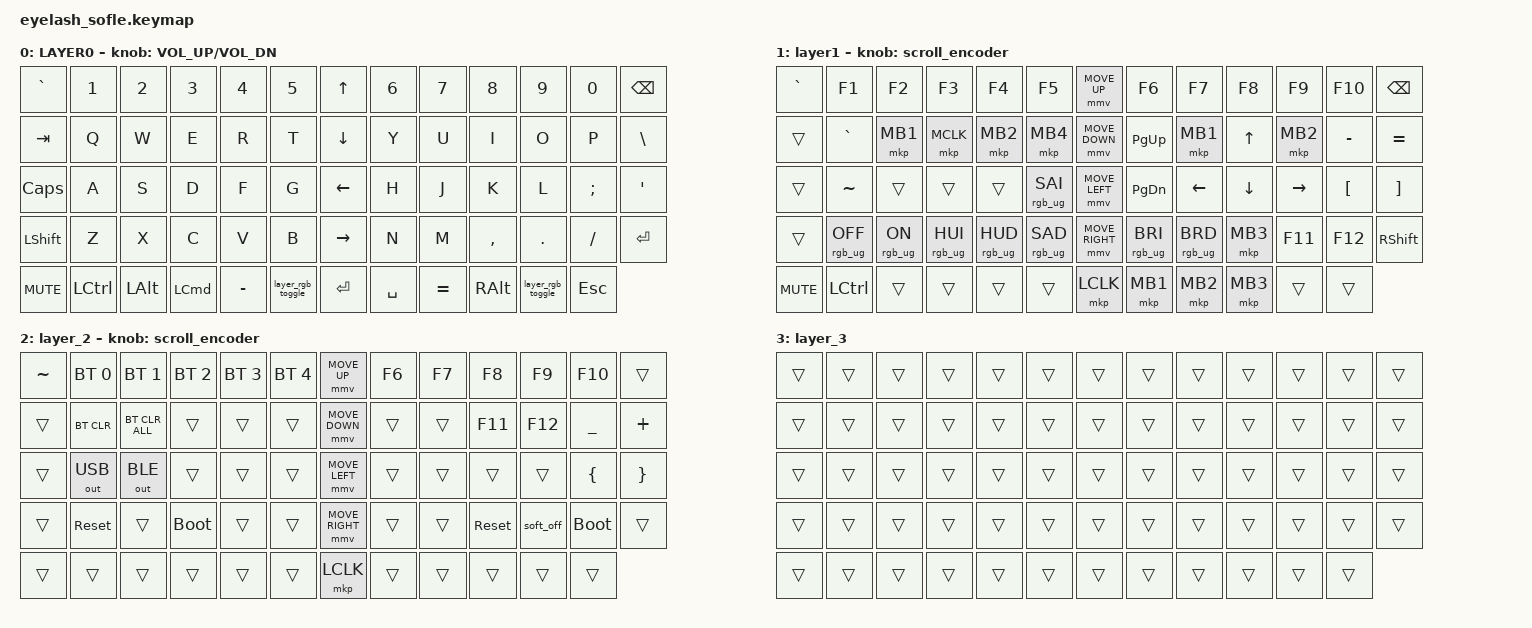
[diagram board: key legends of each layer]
#define ZMK_POINTING_DEFAULT_MOVE_VAL 1200  // 600
#define ZMK_POINTING_DEFAULT_SCRL_VAL 25   // 10

#include <input/processors.dtsi>
#include <zephyr/dt-bindings/input/input-event-codes.h>
#include <behaviors.dtsi>
#include <dt-bindings/zmk/bt.h>
#include <dt-bindings/zmk/keys.h>
#include <dt-bindings/zmk/outputs.h>
#include <dt-bindings/zmk/pointing.h>
#include <dt-bindings/zmk/rgb.h>

&mmv_input_listener { input-processors = <&zip_xy_scaler 2 1>; };

&msc_input_listener { input-processors = <&zip_scroll_scaler 2 1>; };

&msc {
    acceleration-exponent = <1>;      // 0
    time-to-max-speed-ms = <100>;       // 300
    delay-ms = <0>;                   // 0
};

&mmv {
    time-to-max-speed-ms = <500>;
    acceleration-exponent = <1>;
    trigger-period-ms = <16>;
};

/ {
    scroll_encoder: scroll_encoder {
        compatible = "zmk,behavior-sensor-rotate";
        #sensor-binding-cells = <0>;
        bindings = <&msc SCRL_DOWN>, <&msc SCRL_UP>;

        tap-ms = <100>;
    };

    behaviors {
        layer_rgb_toggle: layer_rgb_toggle {
            compatible = "zmk,behavior-macro";
            #binding-cells = <0>;
            bindings = <&tog 1 &rgb_ug RGB_TOG>;
        };
    };

    macros {
    };

    keymap {
        compatible = "zmk,keymap";

        layer0 {
            bindings = <
&kp GRAVE   &kp N1     &kp N2        &kp N3            &kp N4     &kp N5               &kp UP_ARROW     &kp N6     &kp N7     &kp N8         &kp N9             &kp N0    &kp BACKSPACE
&kp TAB     &kp Q      &kp W         &kp E             &kp R      &kp T                &kp DOWN_ARROW   &kp Y      &kp U      &kp I          &kp O              &kp P     &kp BSLH
&kp CAPS    &kp A      &kp S         &kp D             &kp F      &kp G                &kp LEFT_ARROW   &kp H      &kp J      &kp K          &kp L              &kp SEMI  &kp APOS
&kp LSHFT   &kp Z      &kp X         &kp C             &kp V      &kp B                &kp RIGHT_ARROW  &kp N      &kp M      &kp COMMA      &kp DOT            &kp FSLH  &kp ENTER
&kp C_MUTE  &kp LCTRL  &kp LEFT_ALT  &kp LEFT_COMMAND  &kp MINUS  &layer_rgb_toggle    &kp ENTER        &kp SPACE  &kp EQUAL  &kp RIGHT_ALT  &layer_rgb_toggle  &kp ESC
            >;

            sensor-bindings = <&inc_dec_kp C_VOLUME_UP C_VOL_DN>;
            display-name = "LAYER0";
        };

        layer_1 {
            bindings = <
&kp GRAVE   &kp F1           &kp F2          &kp F3           &kp F4           &kp F5             &mmv MOVE_UP     &kp F6           &kp F7           &kp F8    &kp F9     &kp F10           &kp BACKSPACE
&trans      &kp GRAVE        &mkp MB1        &mkp MCLK        &mkp MB2         &mkp MB4           &mmv MOVE_DOWN   &kp PG_UP        &mkp MB1         &kp UP    &mkp MB2   &kp MINUS         &kp EQUAL
&trans      &kp TILDE        &trans          &trans           &trans           &rgb_ug RGB_SAI    &mmv MOVE_LEFT   &kp PG_DN        &kp LEFT         &kp DOWN  &kp RIGHT  &kp LEFT_BRACKET  &kp RIGHT_BRACKET
&trans      &rgb_ug RGB_OFF  &rgb_ug RGB_ON  &rgb_ug RGB_HUI  &rgb_ug RGB_HUD  &rgb_ug RGB_SAD    &mmv MOVE_RIGHT  &rgb_ug RGB_BRI  &rgb_ug RGB_BRD  &mkp MB3  &kp F11    &kp F12           &kp RIGHT_SHIFT
&kp C_MUTE  &kp LCTRL        &trans          &trans           &trans           &trans             &mkp LCLK        &mkp MB1         &mkp MB2         &mkp MB3  &trans     &trans
            >;

            display-name = "layer1";
            sensor-bindings = <&scroll_encoder>;
        };

        layer_2 {
            bindings = <
&kp TILDE  &bt BT_SEL 0  &bt BT_SEL 1    &bt BT_SEL 2  &bt BT_SEL 3  &bt BT_SEL 4    &mmv MOVE_UP     &kp F6  &kp F7  &kp F8      &kp F9     &kp F10      &trans
&trans     &bt BT_CLR    &bt BT_CLR_ALL  &trans        &trans        &trans          &mmv MOVE_DOWN   &trans  &trans  &kp F11     &kp F12    &kp UNDER    &kp PLUS
&trans     &out OUT_USB  &out OUT_BLE    &trans        &trans        &trans          &mmv MOVE_LEFT   &trans  &trans  &trans      &trans     &kp LBRC     &kp RBRC
&trans     &sys_reset    &trans          &bootloader   &trans        &trans          &mmv MOVE_RIGHT  &trans  &trans  &sys_reset  &soft_off  &bootloader  &trans
&trans     &trans        &trans          &trans        &trans        &trans          &mkp LCLK        &trans  &trans  &trans      &trans     &trans
            >;

            sensor-bindings = <&scroll_encoder>;
        };

        layer_3 {
            bindings = <
&trans  &trans  &trans  &trans  &trans  &trans    &trans  &trans  &trans  &trans  &trans  &trans  &trans
&trans  &trans  &trans  &trans  &trans  &trans    &trans  &trans  &trans  &trans  &trans  &trans  &trans
&trans  &trans  &trans  &trans  &trans  &trans    &trans  &trans  &trans  &trans  &trans  &trans  &trans
&trans  &trans  &trans  &trans  &trans  &trans    &trans  &trans  &trans  &trans  &trans  &trans  &trans
&trans  &trans  &trans  &trans  &trans  &trans    &trans  &trans  &trans  &trans  &trans  &trans
            >;
        };
    };
};
